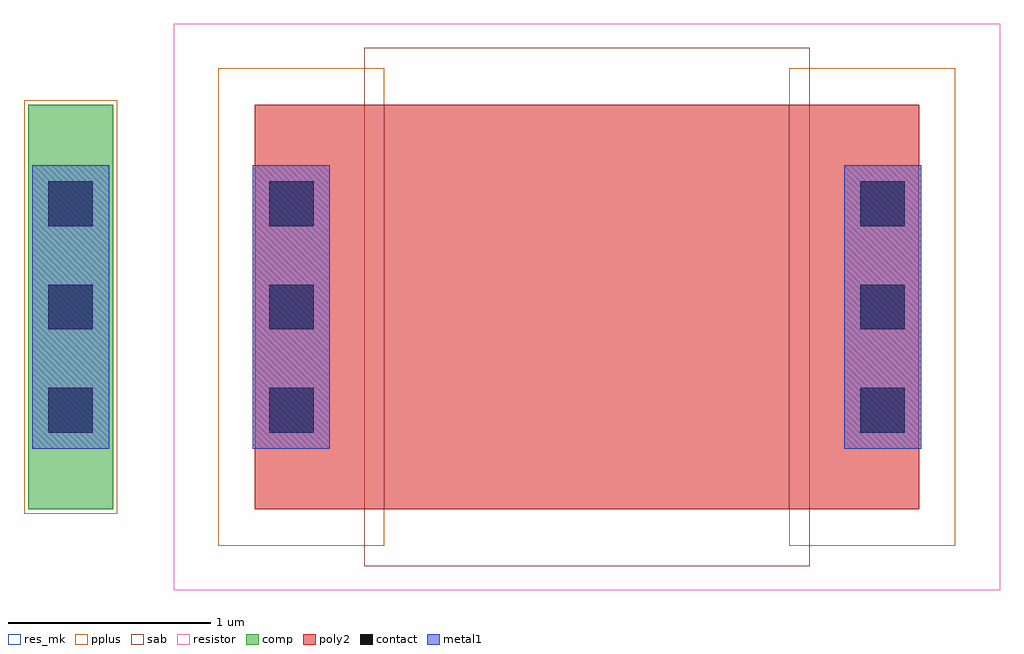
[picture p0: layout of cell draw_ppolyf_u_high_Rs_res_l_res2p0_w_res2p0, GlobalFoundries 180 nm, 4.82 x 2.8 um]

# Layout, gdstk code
import gdstk
lib = gdstk.Library(unit=1e-6, precision=1e-09)
def R(c, l, rs):  # rectangles x0, y0, x1, y1
    for r in rs: c.add(gdstk.rectangle(r[:2], r[2:], *l))
def A(c, l, x, y, w, h, nx, ny, dx, dy):  # array of equal rectangles
    R(c, l, [(x+i*dx, y+j*dy, x+i*dx+w, y+j*dy+h) for i in range(nx) for j in range(ny)])
comp = (22, 0)
poly2 = (30, 0)
pplus = (31, 0)
contact = (33, 0)
metal1 = (34, 0)
sab = (49, 0)
resistor = (62, 0)
res_mk = (110, 5)

draw_ppolyf_u_high_rs_re = lib.new_cell('draw_ppolyf_u_high_Rs_res_l_res2p0_w_res2p0')
R(draw_ppolyf_u_high_rs_re, comp, [(-1.76,0,-1.34,2)])
R(draw_ppolyf_u_high_rs_re, poly2, [(-0.64,0,2.64,2)])
R(draw_ppolyf_u_high_rs_re, pplus, [(-0.82,-0.18,0,2.18), (2,-0.18,2.82,2.18), (-1.78,-0.02,-1.32,2.02)])
A(draw_ppolyf_u_high_rs_re, contact, -1.66, 0.38, 0.22, 0.22, 1, 3, 0, 0.51)
A(draw_ppolyf_u_high_rs_re, contact, -0.57, 0.38, 0.22, 0.22, 1, 3, 0, 0.51)
A(draw_ppolyf_u_high_rs_re, contact, 2.35, 0.38, 0.22, 0.22, 1, 3, 0, 0.51)
R(draw_ppolyf_u_high_rs_re, metal1, [(-1.74,0.3,-1.36,1.7), (-0.65,0.3,-0.27,1.7), (2.27,0.3,2.65,1.7)])
R(draw_ppolyf_u_high_rs_re, sab, [(-0.1,-0.28,2.1,2.28)])
R(draw_ppolyf_u_high_rs_re, resistor, [(-1.04,-0.4,3.04,2.4)])
R(draw_ppolyf_u_high_rs_re, res_mk, [(0,0,2,2)])

lib.write_gds('draw_ppolyf_u_high_Rs_res_l_res2p0_w_res2p0.gds')
